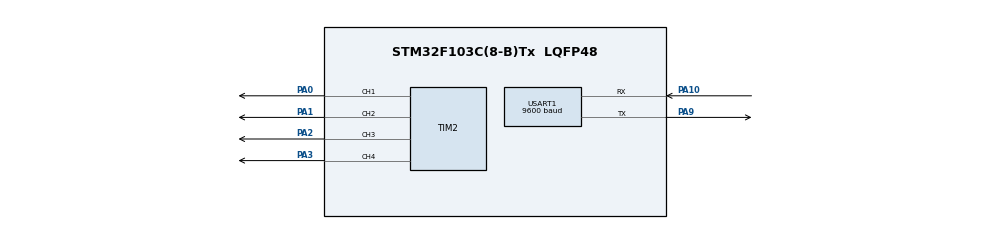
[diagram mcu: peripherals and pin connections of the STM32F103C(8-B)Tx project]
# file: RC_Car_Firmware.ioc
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Mcu.Family=STM32F1
Mcu.Name=STM32F103C(8-B)Tx
Mcu.Package=LQFP48
NVIC.PriorityGroup=NVIC_PRIORITYGROUP_4
NVIC.USART1_IRQn=true\:0\:0\:false\:false\:true\:true\:true\:true
PA0-WKUP.Signal=S_TIM2_CH1_ETR
PA1.Signal=S_TIM2_CH2
PA10.Mode=Asynchronous
PA10.Signal=USART1_RX
PA2.Signal=S_TIM2_CH3
PA3.Signal=S_TIM2_CH4
PA9.Mode=Asynchronous
PA9.Signal=USART1_TX
ProjectManager.HeapSize=0x200
ProjectManager.StackSize=0x400
ProjectManager.TargetToolchain=STM32CubeIDE
RCC.APB1Freq_Value=8000000
RCC.APB2Freq_Value=8000000
SH.S_TIM2_CH1_ETR.0=TIM2_CH1,PWM Generation1 CH1
SH.S_TIM2_CH2.0=TIM2_CH2,PWM Generation2 CH2
SH.S_TIM2_CH3.0=TIM2_CH3,PWM Generation3 CH3
SH.S_TIM2_CH4.0=TIM2_CH4,PWM Generation4 CH4
TIM2.Channel-PWM\ Generation1\ CH1=TIM_CHANNEL_1
TIM2.Channel-PWM\ Generation2\ CH2=TIM_CHANNEL_2
TIM2.Channel-PWM\ Generation3\ CH3=TIM_CHANNEL_3
TIM2.Channel-PWM\ Generation4\ CH4=TIM_CHANNEL_4
USART1.BaudRate=9600
USART1.VirtualMode=VM_ASYNC
VP_SYS_VS_ND.Mode=No_Debug
VP_TIM2_VS_ClockSourceINT.Mode=Internal
board=custom

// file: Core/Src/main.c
/* USER CODE BEGIN Header */
/**
  ******************************************************************************
  * @file           : main.c
  * @brief          : Main program body
  ******************************************************************************
  * @attention
  *
  * Copyright (c) 2026 STMicroelectronics.
  * All rights reserved.
  *
  * This software is licensed under terms that can be found in the LICENSE file
  * in the root directory of this software component.
  * If no LICENSE file comes with this software, it is provided AS-IS.
  *
  ******************************************************************************
  */
/* USER CODE END Header */
#include "main.h"

TIM_HandleTypeDef htim2;
UART_HandleTypeDef huart1;

/* USER CODE BEGIN PV */
uint8_t rx_data; // Stores the incoming single byte from HC-05 Bluetooth
/* USER CODE END PV */

void SystemClock_Config(void);
static void MX_GPIO_Init(void);
static void MX_TIM2_Init(void);
static void MX_USART1_UART_Init(void);

/* USER CODE BEGIN 0 */
void Motor_SetSpeed(uint16_t in1, uint16_t in2, uint16_t in3, uint16_t in4) {
    __HAL_TIM_SET_COMPARE(&htim2, TIM_CHANNEL_1, in1);
    __HAL_TIM_SET_COMPARE(&htim2, TIM_CHANNEL_2, in2);
    __HAL_TIM_SET_COMPARE(&htim2, TIM_CHANNEL_3, in3);
    __HAL_TIM_SET_COMPARE(&htim2, TIM_CHANNEL_4, in4);
}
/* USER CODE END 0 */

int main(void)
{

  /* MCU Configuration--------------------------------------------------------*/

  /* Reset of all peripherals, Initializes the Flash interface and the Systick. */
  HAL_Init();

  /* Configure the system clock */
  SystemClock_Config();

  /* Initialize all configured peripherals */
  MX_GPIO_Init();
  MX_TIM2_Init();
  MX_USART1_UART_Init();

  /* USER CODE BEGIN 2 */
  // Enable PWM outputs on PA0, PA1, PA2, PA3
  HAL_TIM_PWM_Start(&htim2, TIM_CHANNEL_1);
  HAL_TIM_PWM_Start(&htim2, TIM_CHANNEL_2);
  HAL_TIM_PWM_Start(&htim2, TIM_CHANNEL_3);
  HAL_TIM_PWM_Start(&htim2, TIM_CHANNEL_4);

  // Enable non-blocking UART Interrupt reception on USART1 for 1 byte
  HAL_UART_Receive_IT(&huart1, &rx_data, 1);
  /* USER CODE END 2 */

  /* Infinite loop */
  while (1)
  {

  }
}

void SystemClock_Config(void)
{
  RCC_OscInitTypeDef RCC_OscInitStruct = {0};
  RCC_ClkInitTypeDef RCC_ClkInitStruct = {0};

  RCC_OscInitStruct.OscillatorType = RCC_OSCILLATORTYPE_HSI;
  RCC_OscInitStruct.HSIState = RCC_HSI_ON;
  RCC_OscInitStruct.HSICalibrationValue = RCC_HSICALIBRATION_DEFAULT;
  RCC_OscInitStruct.PLL.PLLState = RCC_PLL_NONE;
  if (HAL_RCC_OscConfig(&RCC_OscInitStruct) != HAL_OK)
  {
    Error_Handler();
  }

  RCC_ClkInitStruct.ClockType = RCC_CLOCKTYPE_HCLK|RCC_CLOCKTYPE_SYSCLK
                              |RCC_CLOCKTYPE_PCLK1|RCC_CLOCKTYPE_PCLK2;
  RCC_ClkInitStruct.SYSCLKSource = RCC_SYSCLKSOURCE_HSI;
  RCC_ClkInitStruct.AHBCLKDivider = RCC_SYSCLK_DIV1;
  RCC_ClkInitStruct.APB1CLKDivider = RCC_HCLK_DIV1;
  RCC_ClkInitStruct.APB2CLKDivider = RCC_HCLK_DIV1;

  if (HAL_RCC_ClockConfig(&RCC_ClkInitStruct, FLASH_LATENCY_0) != HAL_OK)
  {
    Error_Handler();
  }
}

static void MX_TIM2_Init(void)
{
  TIM_ClockConfigTypeDef sClockSourceConfig = {0};
  TIM_MasterConfigTypeDef sMasterConfig = {0};
  TIM_OC_InitTypeDef sConfigOC = {0};

  htim2.Instance = TIM2;
  htim2.Init.Prescaler = 7-1;
  htim2.Init.CounterMode = TIM_COUNTERMODE_UP;
  htim2.Init.Period = 1000-1;
  htim2.Init.ClockDivision = TIM_CLOCKDIVISION_DIV1;
  htim2.Init.AutoReloadPreload = TIM_AUTORELOAD_PRELOAD_DISABLE;
  if (HAL_TIM_Base_Init(&htim2) != HAL_OK)
  {
    Error_Handler();
  }
  sClockSourceConfig.ClockSource = TIM_CLOCKSOURCE_INTERNAL;
  if (HAL_TIM_ConfigClockSource(&htim2, &sClockSourceConfig) != HAL_OK)
  {
    Error_Handler();
  }
  if (HAL_TIM_PWM_Init(&htim2) != HAL_OK)
  {
    Error_Handler();
  }
  sMasterConfig.MasterOutputTrigger = TIM_TRGO_RESET;
  sMasterConfig.MasterSlaveMode = TIM_MASTERSLAVEMODE_DISABLE;
  if (HAL_TIMEx_MasterConfigSynchronization(&htim2, &sMasterConfig) != HAL_OK)
  {
    Error_Handler();
  }
  sConfigOC.OCMode = TIM_OCMODE_PWM1;
  sConfigOC.Pulse = 0;
  sConfigOC.OCPolarity = TIM_OCPOLARITY_HIGH;
  sConfigOC.OCFastMode = TIM_OCFAST_DISABLE;
  if (HAL_TIM_PWM_ConfigChannel(&htim2, &sConfigOC, TIM_CHANNEL_1) != HAL_OK)
  {
    Error_Handler();
  }
  if (HAL_TIM_PWM_ConfigChannel(&htim2, &sConfigOC, TIM_CHANNEL_2) != HAL_OK)
  {
    Error_Handler();
  }
  if (HAL_TIM_PWM_ConfigChannel(&htim2, &sConfigOC, TIM_CHANNEL_3) != HAL_OK)
  {
    Error_Handler();
  }
  if (HAL_TIM_PWM_ConfigChannel(&htim2, &sConfigOC, TIM_CHANNEL_4) != HAL_OK)
  {
    Error_Handler();
  }
  HAL_TIM_MspPostInit(&htim2);
}

static void MX_USART1_UART_Init(void)
{
  huart1.Instance = USART1;
  huart1.Init.BaudRate = 9600;
  huart1.Init.WordLength = UART_WORDLENGTH_8B;
  huart1.Init.StopBits = UART_STOPBITS_1;
  huart1.Init.Parity = UART_PARITY_NONE;
  huart1.Init.Mode = UART_MODE_TX_RX;
  huart1.Init.HwFlowCtl = UART_HWCONTROL_NONE;
  huart1.Init.OverSampling = UART_OVERSAMPLING_16;
  if (HAL_UART_Init(&huart1) != HAL_OK)
  {
    Error_Handler();
  }
}

static void MX_GPIO_Init(void)
{
  __HAL_RCC_GPIOA_CLK_ENABLE();
}

/* USER CODE BEGIN 4 */
void HAL_UART_RxCpltCallback(UART_HandleTypeDef *huart) {
    if (huart->Instance == USART1) {
        switch (rx_data) {
            case 'F': // Forward
                Motor_SetSpeed(800, 0, 800, 0);
                break;
            case 'B': // Backward
                Motor_SetSpeed(0, 800, 0, 800);
                break;
            case 'L': // Turn Left
                Motor_SetSpeed(0, 800, 800, 0);
                break;
            case 'R': // Turn Right
                Motor_SetSpeed(800, 0, 0, 800);
                break;
            case 'S': // Stop
                Motor_SetSpeed(0, 0, 0, 0);
                break;
            default:
                break;
        }
        // Re-enable UART interrupt for the next character
        HAL_UART_Receive_IT(&huart1, &rx_data, 1);
    }
}
/* USER CODE END 4 */

void Error_Handler(void)
{
  __disable_irq();
  while (1)
  {
  }
}
